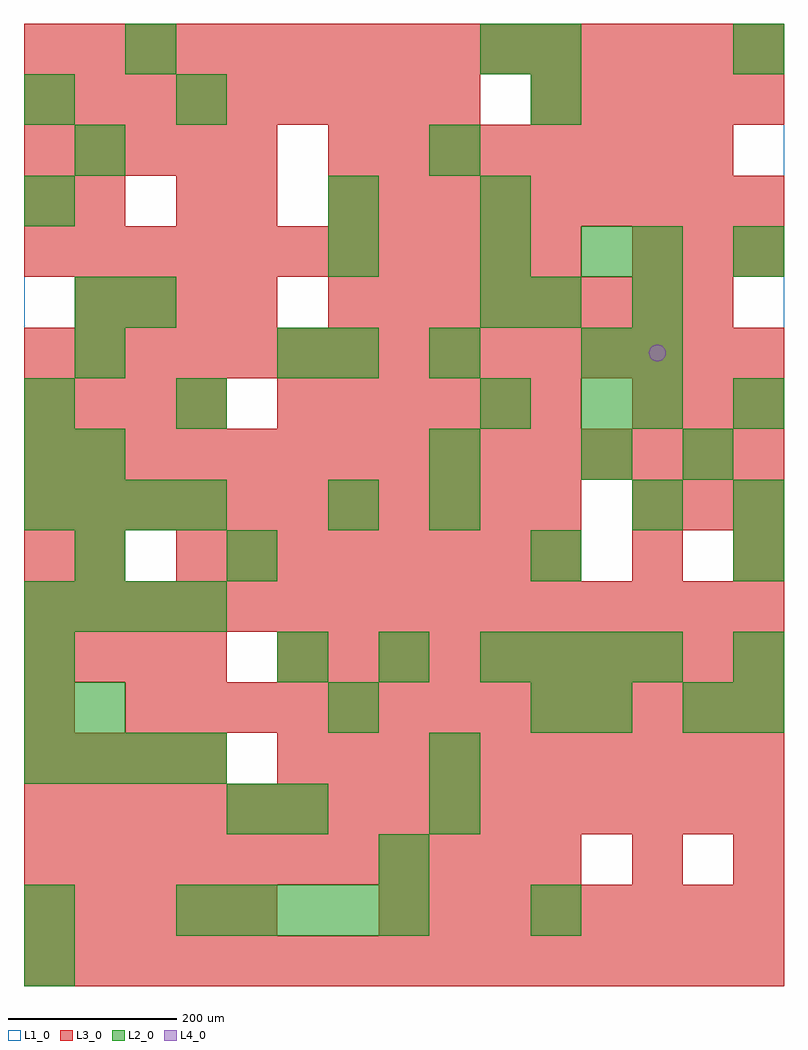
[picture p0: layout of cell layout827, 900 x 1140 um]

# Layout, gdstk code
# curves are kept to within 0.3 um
import gdstk
lib = gdstk.Library(unit=1e-6, precision=1e-09)
def R(c, l, rs):  # rectangles x0, y0, x1, y1
    for r in rs: c.add(gdstk.rectangle(r[:2], r[2:], *l))
def A(c, l, x, y, w, h, nx, ny, dx, dy):  # array of equal rectangles
    R(c, l, [(x+i*dx, y+j*dy, x+i*dx+w, y+j*dy+h) for i in range(nx) for j in range(ny)])
def P(c, l, *ps):  # polygons
    for p in ps: c.add(gdstk.Polygon(p, *l))
L1_0 = (1, 0)
L2_0 = (2, 0)
L3_0 = (3, 0)
L4_0 = (4, 0)

layout827 = lib.new_cell('layout827')
R(layout827, L1_0, [(0,0,900,1140)])
A(layout827, L2_0, 180, 60, 60, 60, 5, 1, 60, 0)
A(layout827, L2_0, 0, 240, 60, 60, 4, 2, 60, 180)
A(layout827, L2_0, 300, 360, 60, 60, 3, 1, 120, 0)
A(layout827, L2_0, 600, 360, 60, 60, 3, 1, 60, 0)
A(layout827, L2_0, 60, 480, 60, 60, 1, 3, 0, 120)
A(layout827, L2_0, 0, 540, 60, 60, 4, 1, 60, 0)
A(layout827, L2_0, 660, 600, 60, 60, 1, 3, 0, 60)
A(layout827, L2_0, 720, 660, 60, 60, 1, 4, 0, 60)
A(layout827, L2_0, 540, 780, 60, 60, 1, 3, 0, 60)
R(layout827, L2_0, [(0,0,60,60), (0,60,60,120), (600,60,660,120), (420,120,480,180), (240,180,300,240), (300,180,360,240), (480,180,540,240), (480,240,540,300), (0,300,60,360), (60,300,120,360), (360,300,420,360), (600,300,660,360), (660,300,720,360), (780,300,840,360), (840,300,900,360), (0,360,60,420), (840,360,900,420), (240,480,300,540), (600,480,660,540), (840,480,900,540), (360,540,420,600), (480,540,540,600), (720,540,780,600), (840,540,900,600), (0,600,60,660), (480,600,540,660), (780,600,840,660), (0,660,60,720), (180,660,240,720), (540,660,600,720), (840,660,900,720), (300,720,360,780), (360,720,420,780), (480,720,540,780), (60,780,120,840), (120,780,180,840), (600,780,660,840), (360,840,420,900), (660,840,720,900), (840,840,900,900), (0,900,60,960), (360,900,420,960), (60,960,120,1020), (480,960,540,1020), (0,1020,60,1080), (180,1020,240,1080), (600,1020,660,1080), (120,1080,180,1140), (540,1080,600,1140), (600,1080,660,1140), (840,1080,900,1140)])
A(layout827, L3_0, 0, 0, 60, 60, 15, 2, 60, 180)
A(layout827, L3_0, 0, 60, 60, 60, 5, 2, 60, 900)
A(layout827, L3_0, 420, 60, 60, 60, 8, 1, 60, 0)
A(layout827, L3_0, 0, 120, 60, 60, 11, 2, 60, 420)
A(layout827, L3_0, 0, 240, 60, 60, 4, 2, 60, 120)
A(layout827, L3_0, 300, 240, 60, 60, 10, 2, 60, 120)
A(layout827, L3_0, 120, 300, 60, 60, 13, 1, 60, 0)
A(layout827, L3_0, 0, 420, 60, 60, 15, 2, 60, 180)
A(layout827, L3_0, 180, 480, 60, 60, 8, 1, 60, 0)
A(layout827, L3_0, 720, 540, 60, 60, 3, 2, 60, 120)
A(layout827, L3_0, 0, 660, 60, 60, 4, 1, 60, 0)
A(layout827, L3_0, 300, 660, 60, 60, 6, 1, 60, 0)
A(layout827, L3_0, 0, 720, 60, 60, 15, 2, 60, 360)
A(layout827, L3_0, 60, 780, 60, 60, 4, 1, 60, 0)
A(layout827, L3_0, 360, 780, 60, 60, 8, 2, 60, 180)
A(layout827, L3_0, 0, 840, 60, 60, 11, 1, 60, 0)
A(layout827, L3_0, 720, 840, 60, 60, 3, 1, 60, 0)
A(layout827, L3_0, 360, 900, 60, 60, 9, 1, 60, 0)
A(layout827, L3_0, 0, 1020, 60, 60, 9, 1, 60, 0)
A(layout827, L3_0, 600, 1020, 60, 60, 5, 1, 60, 0)
R(layout827, L3_0, [(720,120,780,180), (840,120,900,180), (0,300,60,360), (0,480,60,540), (60,480,120,540), (720,480,780,540), (840,480,900,540), (0,900,60,960), (60,900,120,960), (180,900,240,960), (240,900,300,960)])
P(layout827, L4_0, [(760,750),(759.239,753.827),(757.071,757.071),(753.827,759.239),(750,760),(746.173,759.239),(742.929,757.071),(740.761,753.827),(740,750),(740.761,746.173),(742.929,742.929),(746.173,740.761),(750,740),(753.827,740.761),(757.071,742.929),(759.239,746.173)])

lib.write_gds('layout827.gds')
